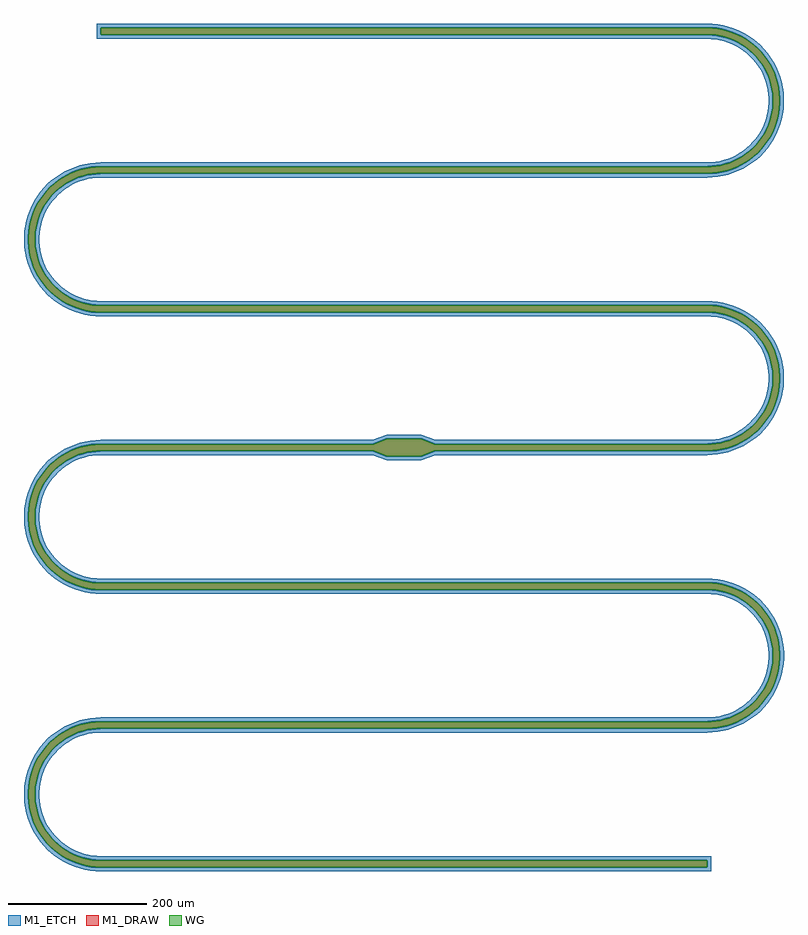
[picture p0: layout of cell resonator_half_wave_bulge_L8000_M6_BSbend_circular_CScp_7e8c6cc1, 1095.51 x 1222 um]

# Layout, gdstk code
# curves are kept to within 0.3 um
from math import pi, radians
import gdstk
lib = gdstk.Library(unit=1e-6, precision=1e-09)
def R(c, l, rs):  # rectangles x0, y0, x1, y1
    for r in rs: c.add(gdstk.rectangle(r[:2], r[2:], *l))
def P(c, l, *ps):  # polygons
    for p in ps: c.add(gdstk.Polygon(p, *l))
M1_DRAW = (1, 0)
M1_ETCH = (1, 1)
WG = (102, 0)

straight_l873p6328571428 = lib.new_cell('straight_L873p6328571428572_CScoplanar_waveguide_N2')
R(straight_l873p6328571428, M1_DRAW, [(0,-5,873.633,5)])
R(straight_l873p6328571428, M1_ETCH, [(0,-11,873.633,-5), (0,5,873.633,11)])
R(straight_l873p6328571428, WG, [(0,-5,873.633,5)])

bend_circular_a180_r100_ = lib.new_cell('bend_circular_A180_R100_NNone_CScoplanar_waveguide_AMRVTrue_AS4')
P(bend_circular_a180_r100_, M1_DRAW, [(0,-5),(0,5),(13.221,5.928),(19.751,7.079),(26.185,8.683),(38.639,13.216),(50.341,19.438),(55.838,23.146),(61.063,27.228),(70.596,36.435),(78.756,46.878),(85.383,58.356),(88.08,64.414),(92.175,77.018),(93.554,83.504),(94.939,96.685),(94.477,109.93),(93.554,116.496),(92.175,122.982),(88.08,135.586),(85.383,141.644),(78.756,153.122),(70.596,163.565),(61.063,172.772),(55.838,176.854),(50.341,180.562),(38.639,186.784),(26.185,191.317),(19.751,192.921),(13.221,194.072),(0,195),(0,205),(14.614,203.981),(28.943,200.935),(35.913,198.671),(42.709,195.925),(55.643,189.048),(67.495,180.437),(72.941,175.533),(82.744,164.646),(87.051,158.717),(90.935,152.502),(97.357,139.335),(99.864,132.448),(103.408,118.234),(104.939,103.665),(104.428,89.024),(103.408,81.766),(99.864,67.552),(97.357,60.665),(90.935,47.498),(87.051,41.283),(82.744,35.354),(72.941,24.467),(67.495,19.563),(55.643,10.952),(42.709,4.075),(35.913,1.329),(28.943,-0.935),(14.614,-3.981)])
P(bend_circular_a180_r100_, M1_ETCH, [(0,-11),(0,-5),(14.614,-3.981),(28.943,-0.935),(35.913,1.329),(42.709,4.075),(55.643,10.952),(67.495,19.563),(72.941,24.467),(82.744,35.354),(87.051,41.283),(90.935,47.498),(97.357,60.665),(99.864,67.552),(103.408,81.766),(104.939,96.335),(104.428,110.976),(103.408,118.234),(99.864,132.448),(97.357,139.335),(90.935,152.502),(82.744,164.646),(78.032,170.261),(67.495,180.437),(55.643,189.048),(49.296,192.712),(35.913,198.671),(21.831,202.708),(7.325,204.747),(0,205),(0,211),(15.449,209.926),(23.08,208.581),(37.967,204.312),(45.15,201.41),(58.825,194.139),(71.354,185.036),(77.112,179.852),(87.474,168.343),(92.029,162.074),(96.135,155.503),(102.924,141.584),(105.574,134.303),(109.32,119.276),(110.939,103.874),(110.399,88.397),(109.32,80.724),(105.574,65.697),(102.924,58.416),(96.135,44.497),(92.029,37.926),(87.474,31.657),(77.112,20.148),(71.354,14.964),(58.825,5.861),(45.15,-1.41),(37.967,-4.312),(23.08,-8.581),(15.449,-9.926)],
  [(0,5),(0,11),(12.385,11.873),(18.503,12.951),(24.53,14.454),(36.197,18.701),(47.159,24.529),(57.204,31.827),(61.82,35.984),(70.128,45.21),(73.779,50.236),(79.987,60.988),(84.638,72.5),(86.35,78.471),(88.506,90.698),(88.939,96.894),(88.506,109.302),(86.35,121.529),(84.638,127.5),(79.987,139.012),(77.07,144.497),(70.128,154.79),(66.135,159.548),(57.204,168.173),(52.309,171.997),(47.159,175.471),(36.197,181.299),(24.53,185.546),(18.503,187.049),(12.385,188.127),(0,189),(0,195),(13.221,194.072),(19.751,192.921),(26.185,191.317),(38.639,186.784),(50.341,180.562),(61.063,172.772),(65.99,168.335),(74.859,158.486),(78.756,153.122),(85.383,141.644),(88.08,135.586),(92.175,122.982),(94.477,109.93),(94.939,103.315),(94.477,90.07),(93.554,83.504),(92.175,77.018),(88.08,64.414),(85.383,58.356),(78.756,46.878),(74.859,41.514),(65.99,31.665),(61.063,27.228),(50.341,19.438),(38.639,13.216),(26.185,8.683),(19.751,7.079),(13.221,5.928)])
P(bend_circular_a180_r100_, WG, [(0,-5),(0,5),(13.221,5.928),(19.751,7.079),(26.185,8.683),(38.639,13.216),(50.341,19.438),(55.838,23.146),(61.063,27.228),(70.596,36.435),(78.756,46.878),(85.383,58.356),(88.08,64.414),(92.175,77.018),(93.554,83.504),(94.939,96.685),(94.477,109.93),(93.554,116.496),(92.175,122.982),(88.08,135.586),(85.383,141.644),(78.756,153.122),(70.596,163.565),(61.063,172.772),(55.838,176.854),(50.341,180.562),(38.639,186.784),(26.185,191.317),(19.751,192.921),(13.221,194.072),(0,195),(0,205),(14.614,203.981),(28.943,200.935),(35.913,198.671),(42.709,195.925),(55.643,189.048),(67.495,180.437),(72.941,175.533),(82.744,164.646),(87.051,158.717),(90.935,152.502),(97.357,139.335),(99.864,132.448),(103.408,118.234),(104.939,103.665),(104.428,89.024),(103.408,81.766),(99.864,67.552),(97.357,60.665),(90.935,47.498),(87.051,41.283),(82.744,35.354),(72.941,24.467),(67.495,19.563),(55.643,10.952),(42.709,4.075),(35.913,1.329),(28.943,-0.935),(14.614,-3.981)])

straight_l391p8164285714 = lib.new_cell('straight_L391p8164285714286_CScoplanar_waveguide_N2')
R(straight_l391p8164285714, M1_DRAW, [(0,-5,391.816,5)])
R(straight_l391p8164285714, M1_ETCH, [(0,-11,391.816,-5), (0,5,391.816,11)])
R(straight_l391p8164285714, WG, [(0,-5,391.816,5)])

cpw_bulge_cscoplanar_wav = lib.new_cell('cpw_bulge_CScoplanar_waveguide_BW25_BL50_TL20')
P(cpw_bulge_cscoplanar_wav, M1_DRAW, [(20,-12.5),(0,-5),(0,5),(20,12.5),(70,12.5),(90,5),(90,-5),(70,-12.5)])
P(cpw_bulge_cscoplanar_wav, M1_ETCH, [(20,-18.5),(0,-11),(0,-5),(20,-12.5),(70,-12.5),(90,-5),(90,-11),(70,-18.5)],
  [(0,5),(0,11),(20,18.5),(70,18.5),(90,11),(90,5),(70,12.5),(20,12.5)])
P(cpw_bulge_cscoplanar_wav, WG, [(20,-12.5),(0,-5),(0,5),(20,12.5),(70,12.5),(90,5),(90,-5),(70,-12.5)])

rectangle_gdsfactorypcom = lib.new_cell('rectangle_gdsfactorypcomponentspshapesprectangle_S6_22__2d316d18')
R(rectangle_gdsfactorypcom, M1_ETCH, [(-3,-11,3,11)])

resonator_half_wave_bulg = lib.new_cell('resonator_half_wave_bulge_L8000_M6_BSbend_circular_CScp_7e8c6cc1')
resonator_half_wave_bulg.add(gdstk.Reference(straight_l873p6328571428, (0,0)))
resonator_half_wave_bulg.add(gdstk.Reference(bend_circular_a180_r100_, (873.633,0), x_reflection=True))
resonator_half_wave_bulg.add(gdstk.Reference(straight_l873p6328571428, (873.633,-200), rotation=pi))
resonator_half_wave_bulg.add(gdstk.Reference(bend_circular_a180_r100_, (0,-200), rotation=pi))
resonator_half_wave_bulg.add(gdstk.Reference(straight_l873p6328571428, (0,-400)))
resonator_half_wave_bulg.add(gdstk.Reference(bend_circular_a180_r100_, (873.633,-400), x_reflection=True))
resonator_half_wave_bulg.add(gdstk.Reference(straight_l391p8164285714, (873.633,-600), rotation=pi))
resonator_half_wave_bulg.add(gdstk.Reference(cpw_bulge_cscoplanar_wav, (481.817,-600), rotation=pi))
resonator_half_wave_bulg.add(gdstk.Reference(straight_l391p8164285714, (391.817,-600), rotation=pi))
resonator_half_wave_bulg.add(gdstk.Reference(bend_circular_a180_r100_, (0.001,-600), rotation=pi))
resonator_half_wave_bulg.add(gdstk.Reference(straight_l873p6328571428, (0.001,-800)))
resonator_half_wave_bulg.add(gdstk.Reference(bend_circular_a180_r100_, (873.634,-800), x_reflection=True))
resonator_half_wave_bulg.add(gdstk.Reference(straight_l873p6328571428, (873.634,-1000), rotation=pi))
resonator_half_wave_bulg.add(gdstk.Reference(bend_circular_a180_r100_, (0.001,-1000), rotation=pi))
resonator_half_wave_bulg.add(gdstk.Reference(straight_l873p6328571428, (0.001,-1200)))
resonator_half_wave_bulg.add(gdstk.Reference(rectangle_gdsfactorypcom, (-3,0)))
resonator_half_wave_bulg.add(gdstk.Reference(rectangle_gdsfactorypcom, (876.634,-1200)))

lib.write_gds('resonator_half_wave_bulge_L8000_M6_BSbend_circular_CScp_7e8c6cc1.gds')
